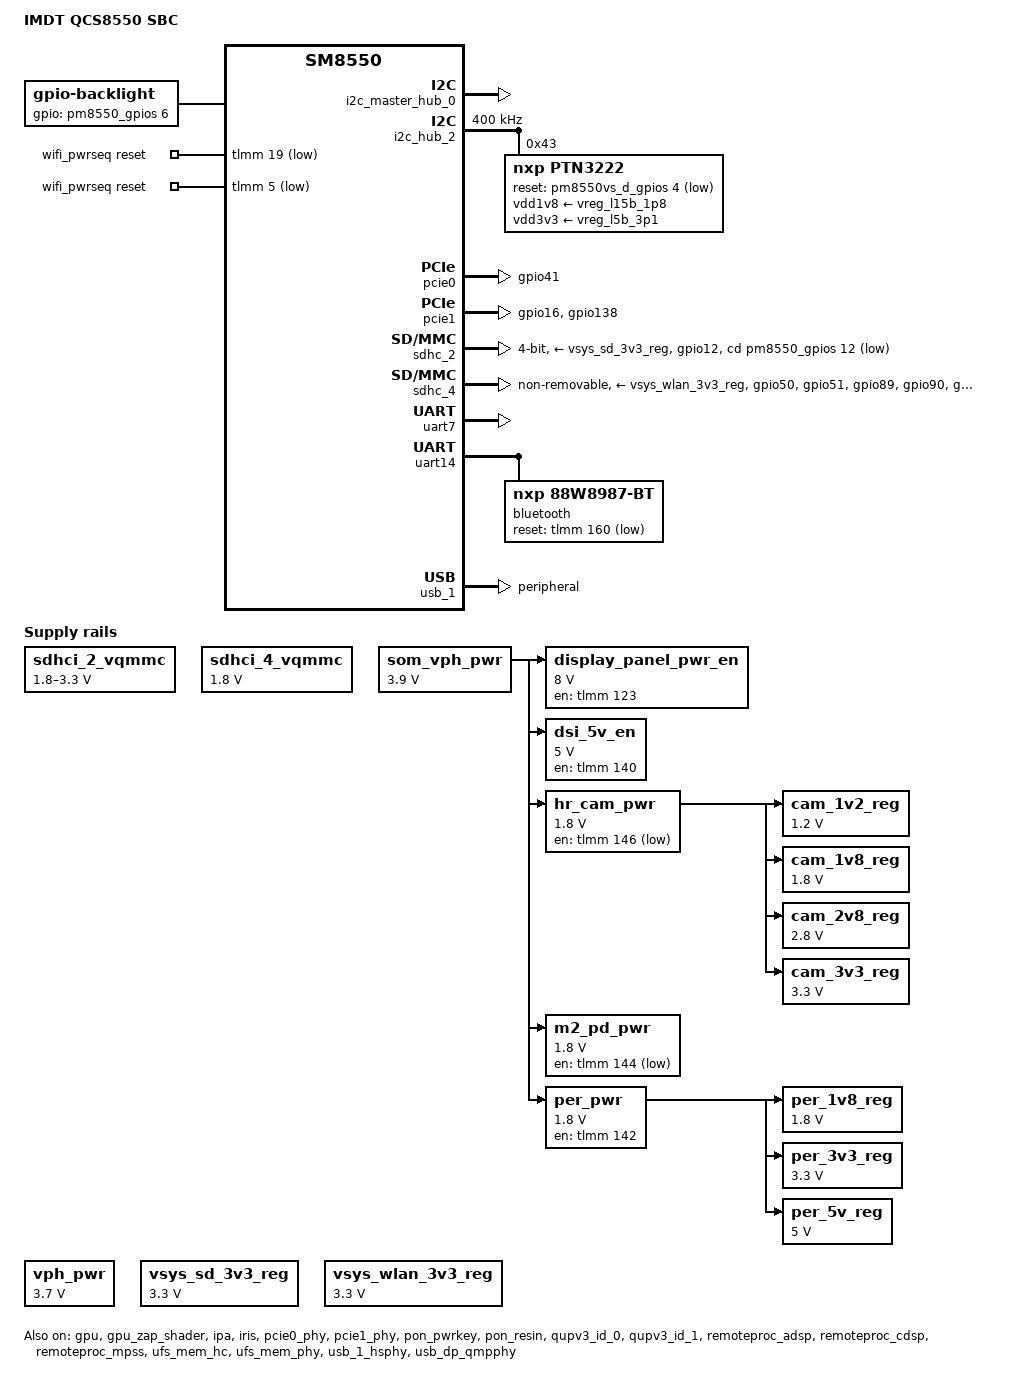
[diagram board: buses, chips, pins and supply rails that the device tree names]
// SPDX-License-Identifier: BSD-3-Clause
/*
 * Copyright (c) 2026 IMD Technologies Ltd
 */

/dts-v1/;

#include "qcs8550-imdt-som.dtsi"

/ {
	model = "IMDT QCS8550 SBC";
	compatible = "imdt,qcs8550-sbc", "imdt,qcs8550-som",
		     "qcom,qcs8550", "qcom,sm8550";
	chassis-type = "embedded";

	aliases {
		serial0 = &uart7;
		serial1 = &uart14;
	};

	chosen {
		stdout-path = "serial0:115200n8";
	};

	backlight: backlight {
		compatible = "gpio-backlight";
		gpios = <&pm8550_gpios 6 GPIO_ACTIVE_HIGH>;
		default-on;
	};

	cam_1v2_reg: regulator-cam-1v2 {
		compatible = "regulator-fixed";
		regulator-name = "cam_1v2_reg";
		regulator-min-microvolt = <1200000>;
		regulator-max-microvolt = <1200000>;
		vin-supply = <&hr_cam_pwr>;
	};

	cam_1v8_reg: regulator-cam-1v8 {
		compatible = "regulator-fixed";
		regulator-name = "cam_1v8_reg";
		regulator-min-microvolt = <1800000>;
		regulator-max-microvolt = <1800000>;
		vin-supply = <&hr_cam_pwr>;
	};

	cam_2v8_reg: regulator-cam-2v8 {
		compatible = "regulator-fixed";
		regulator-name = "cam_2v8_reg";
		regulator-min-microvolt = <2800000>;
		regulator-max-microvolt = <2800000>;
		vin-supply = <&hr_cam_pwr>;
	};

	cam_3v3_reg: regulator-cam-3v3 {
		compatible = "regulator-fixed";
		regulator-name = "cam_3v3_reg";
		regulator-min-microvolt = <3300000>;
		regulator-max-microvolt = <3300000>;
		vin-supply = <&hr_cam_pwr>;
	};

	display_panel_pwr_en: regulator-display-panel-en {
		compatible = "regulator-fixed";
		regulator-name = "display_panel_pwr_en";
		regulator-min-microvolt = <8000000>;
		regulator-max-microvolt = <8000000>;
		startup-delay-us = <10000>;

		pinctrl-names = "default";
		pinctrl-0 = <&panel_en_default>;

		gpio = <&tlmm 123 GPIO_ACTIVE_HIGH>;
		enable-active-high;

		vin-supply = <&som_vph_pwr>;
	};

	/* 5V VIN to backlight LED driver PMIC */
	dsi_5v_en: regulator-dsi-5v-en {
		compatible = "regulator-fixed";
		regulator-name = "dsi_5v_en";
		regulator-min-microvolt = <5000000>;
		regulator-max-microvolt = <5000000>;

		pinctrl-names = "default";
		pinctrl-0 = <&dsi_5v_en_default>;

		gpio = <&tlmm 140 GPIO_ACTIVE_HIGH>;
		enable-active-high;

		vin-supply = <&som_vph_pwr>;

		regulator-always-on;
		regulator-boot-on;
	};

	/* Enables 1V2, 1V8_CAM and 3V3_CAM */
	hr_cam_pwr: regulator-hr-cam-pwr {
		compatible = "regulator-fixed";
		regulator-name = "hr_cam_pwr";
		regulator-min-microvolt = <1800000>;
		regulator-max-microvolt = <1800000>;

		pinctrl-names = "default";
		pinctrl-0 = <&hr_cam_en_default>;

		gpio = <&tlmm 146 GPIO_ACTIVE_LOW>;

		vin-supply = <&som_vph_pwr>;

		regulator-always-on;
		regulator-boot-on;
	};

	/* Enables V2MB_3V8 and V2ME_3V3 */
	m2_pd_pwr: regulator-m2-pd-pwr {
		compatible = "regulator-fixed";
		regulator-name = "m2_pd_pwr";
		regulator-min-microvolt = <1800000>;
		regulator-max-microvolt = <1800000>;

		pinctrl-names = "default";
		pinctrl-0 = <&m2_pd_en_default>;

		gpio = <&tlmm 144 GPIO_ACTIVE_LOW>;

		vin-supply = <&som_vph_pwr>;

		regulator-always-on;
		regulator-boot-on;

		gpio-open-drain;
	};

	per_1v8_reg: regulator-per-1v8 {
		compatible = "regulator-fixed";
		regulator-name = "per_1v8_reg";
		regulator-min-microvolt = <1800000>;
		regulator-max-microvolt = <1800000>;
		vin-supply = <&per_pwr>;
	};

	per_3v3_reg: regulator-per-3v3 {
		compatible = "regulator-fixed";
		regulator-name = "per_3v3_reg";
		regulator-min-microvolt = <3300000>;
		regulator-max-microvolt = <3300000>;
		vin-supply = <&per_pwr>;
	};

	per_5v_reg: regulator-per-5v {
		compatible = "regulator-fixed";
		regulator-name = "per_5v_reg";
		regulator-min-microvolt = <5000000>;
		regulator-max-microvolt = <5000000>;
		vin-supply = <&per_pwr>;
	};

	/* Enables 5V_PER, 3V3_PER and 1V8_PER */
	per_pwr: regulator-per-pwr {
		compatible = "regulator-fixed";
		regulator-name = "per_pwr";
		regulator-min-microvolt = <1800000>;
		regulator-max-microvolt = <1800000>;

		pinctrl-names = "default";
		pinctrl-0 = <&pwr_per_en_default>;

		gpio = <&tlmm 142 GPIO_ACTIVE_HIGH>;
		enable-active-high;

		vin-supply = <&som_vph_pwr>;

		regulator-always-on;
		regulator-boot-on;
	};

	sdhci_2_vqmmc: regulator-sdhci-2-vqmmc {
		compatible = "regulator-gpio";

		regulator-name = "sdhci_2_vqmmc";
		regulator-min-microvolt = <1800000>;
		regulator-max-microvolt = <3300000>;
		regulator-type = "voltage";

		pinctrl-names = "default";
		pinctrl-0 = <&sd_vset_default>;

		gpios = <&tlmm 4 GPIO_ACTIVE_HIGH>;
		enable-active-high;

		gpios-states = <0>;
		states = <3300000 0>,
			 <1800000 1>;

		startup-delay-us = <10000>;
	};

	sdhci_4_vqmmc: regulator-sdhci-4-vqmmc {
		compatible = "regulator-fixed";
		regulator-name = "sdhci_4_vqmmc";
		regulator-min-microvolt = <1800000>;
		regulator-max-microvolt = <1800000>;
		regulator-always-on;
		regulator-boot-on;
	};

	som_vph_pwr: regulator-som-vph-pwr {
		compatible = "regulator-fixed";
		regulator-name = "som_vph_pwr";
		regulator-min-microvolt = <3900000>;
		regulator-max-microvolt = <3900000>;
		regulator-always-on;
		regulator-boot-on;
	};

	vph_pwr: regulator-vph-pwr {
		compatible = "regulator-fixed";
		regulator-name = "vph_pwr";
		regulator-min-microvolt = <3700000>;
		regulator-max-microvolt = <3700000>;
		regulator-always-on;
		regulator-boot-on;
	};

	vsys_sd_3v3_reg: regulator-vsys-sd-3v3 {
		compatible = "regulator-fixed";
		regulator-name = "vsys_sd_3v3_reg";
		regulator-min-microvolt = <3300000>;
		regulator-max-microvolt = <3300000>;
		regulator-always-on;
		regulator-boot-on;
	};

	vsys_wlan_3v3_reg: regulator-vsys-wlan-3v3 {
		compatible = "regulator-fixed";
		regulator-name = "vsys_wlan_3v3_reg";
		regulator-min-microvolt = <3300000>;
		regulator-max-microvolt = <3300000>;
		regulator-always-on;
		regulator-boot-on;
	};

	wifi_pwrseq: wifi-pwrseq {
		compatible = "mmc-pwrseq-simple";
		/*
		 * NXP IW416 chip enables: PMIC_EN (master) and WLAN_EN.
		 * Held asserted (low) before SDHC4 powers up, then
		 * released after vmmc/vqmmc are stable.
		 */
		reset-gpios = <&tlmm 19 GPIO_ACTIVE_LOW>,
			      <&tlmm 5 GPIO_ACTIVE_LOW>;
		post-power-on-delay-ms = <50>;
	};
};

&apps_rsc {
	regulators-0 {
		vdd-bob1-supply = <&vph_pwr>;
		vdd-bob2-supply = <&vph_pwr>;
	};

	regulators-3 {
		vdd-s4-supply = <&vph_pwr>;
		vdd-s5-supply = <&vph_pwr>;
	};

	regulators-4 {
		vdd-s4-supply = <&vph_pwr>;
	};

	regulators-5 {
		vdd-s1-supply = <&vph_pwr>;
		vdd-s2-supply = <&vph_pwr>;
		vdd-s3-supply = <&vph_pwr>;
		vdd-s4-supply = <&vph_pwr>;
		vdd-s5-supply = <&vph_pwr>;
		vdd-s6-supply = <&vph_pwr>;
	};
};

&gpi_dma1 {
	status = "okay";
};

&gpu {
	status = "okay";
};

&gpu_zap_shader {
	firmware-name = "qcom/sm8550/a740_zap.mbn";
	status = "okay";
};

&i2c_master_hub_0 {
	status = "okay";
};

&i2c_hub_2 {
	clock-frequency = <400000>;
	status = "okay";

	ptn3222: redriver@43 {
		compatible = "nxp,ptn3222";
		reg = <0x43>;
		#phy-cells = <0>;

		vdd1v8-supply = <&vreg_l15b_1p8>;
		vdd3v3-supply = <&vreg_l5b_3p1>;

		pinctrl-names = "default";
		pinctrl-0 = <&eusb2_repeater_reset_default>;

		reset-gpios = <&pm8550vs_d_gpios 4 GPIO_ACTIVE_LOW>;
	};
};

&ipa {
	qcom,gsi-loader = "self";
	memory-region = <&ipa_fw_mem>;
	firmware-name = "qcom/sm8550/ipa_fws.mbn";
	status = "okay";
};

&iris {
	status = "okay";
};

&lpass_rxmacro {
	status = "disabled";
};

&lpass_tlmm {
	status = "disabled";
};

&lpass_txmacro {
	status = "disabled";
};

&lpass_vamacro {
	status = "disabled";
};

&lpass_wsa2macro {
	status = "disabled";
};

&lpass_wsamacro {
	status = "disabled";
};

&pcie0 {
	wake-gpios = <&tlmm 96 GPIO_ACTIVE_HIGH>;
	perst-gpios = <&tlmm 94 GPIO_ACTIVE_LOW>;

	/*
	 * pcie0 hosts the M.2 Key-E slot. Apply the SDIO reset
	 * de-assert here so any module's chip enable is settled
	 * before pcie0 trains its link.
	 */
	pinctrl-0 = <&pcie0_default_state>, <&m2e_sdio_resetn_default>;
	pinctrl-names = "default";

	status = "okay";
};

&pcie0_phy {
	vdda-phy-supply = <&vreg_l1e_0p88>;
	vdda-pll-supply = <&vreg_l3e_1p2>;

	status = "okay";
};

&pcie1 {
	wake-gpios = <&tlmm 99 GPIO_ACTIVE_HIGH>;
	perst-gpios = <&tlmm 97 GPIO_ACTIVE_LOW>;

	/*
	 * pcie_switch_sel_default and gbe_reset_default are board-init
	 * lines that must be stable before pcie1 trains its link: the
	 * PCIe switch needs its mode-select strap settled, and the
	 * downstream LAN743x must be out of reset to enumerate.
	 * Applying them via pcie1's pinctrl-0 fires them during
	 * qcom-pcie probe, before bus enumeration.
	 */
	pinctrl-0 = <&pcie1_default_state>,
		    <&pcie_switch_sel_default>,
		    <&gbe_reset_default>;
	pinctrl-names = "default";

	status = "okay";
};

&pcie1_phy {
	vdda-phy-supply = <&vreg_l3c_0p9>;
	vdda-pll-supply = <&vreg_l3e_1p2>;
	vdda-qref-supply = <&vreg_l1e_0p88>;

	status = "okay";
};

&pm8550_gpios {
	sd_card_detect_default: sd-card-detect-default-state {
		pins = "gpio12";
		function = "normal";
		input-enable;
		output-disable;
		bias-disable;
		power-source = <1>; /* 1.8 V */
	};
};

&pm8550vs_d_gpios {
	eusb2_repeater_reset_default: eusb2-repeater-reset-default-state {
		pins = "gpio4";
		function = "normal";

		input-enable;
		output-enable;
		bias-disable;

		drive-push-pull;
		power-source = <1>; /* 1.8V */
		qcom,drive-strength = <3>;
	};
};

&pmk8550_gpios {
	pmk8550_sleep_clk: sleep-clk-state {
		pins = "gpio3";
		function = "func1";
		input-disable;
		output-enable;
		bias-disable;
		power-source = <1>; /* 1.8 V */
	};
};

&pon_pwrkey {
	status = "okay";
};

&pon_resin {
	linux,code = <KEY_VOLUMEDOWN>;

	status = "okay";
};

&qupv3_id_0 {
	status = "okay";
};

&qupv3_id_1 {
	status = "okay";
};

&remoteproc_adsp {
	firmware-name = "qcom/sm8550/adsp.mbn",
			"qcom/sm8550/adsp_dtb.mbn";
	status = "okay";
};

&remoteproc_cdsp {
	firmware-name = "qcom/sm8550/cdsp.mbn",
			"qcom/sm8550/cdsp_dtb.mbn";
	status = "okay";
};

&remoteproc_mpss {
	firmware-name = "qcom/sm8550/modem.mbn",
			"qcom/sm8550/modem_dtb.mbn";
	status = "okay";
};

&sdc2_default {
	clk-pins {
		drive-strength = <16>;
	};

	cmd-pins {
		/delete-property/ bias-pull-up;
		bias-disable;
		drive-strength = <16>;
	};

	data-pins {
		/delete-property/ bias-pull-up;
		bias-disable;
		drive-strength = <16>;
	};
};

&sdhc_2 {
	cd-gpios = <&pm8550_gpios 12 GPIO_ACTIVE_LOW>;

	pinctrl-0 = <&sdc2_default>, <&sd_card_detect_default>;
	pinctrl-1 = <&sdc2_default>, <&sd_card_detect_default>;
	pinctrl-names = "default", "sleep";

	vmmc-supply = <&vsys_sd_3v3_reg>;
	vqmmc-supply = <&sdhci_2_vqmmc>;

	bus-width = <4>;
	no-sdio;
	no-mmc;

	status = "okay";
};

&sdhc_4 {
	pinctrl-0 = <&sdc4_default>, <&pmk8550_sleep_clk>;
	pinctrl-1 = <&sdc4_sleep>, <&pmk8550_sleep_clk>;
	pinctrl-names = "default", "sleep";

	vmmc-supply = <&vsys_wlan_3v3_reg>;
	vqmmc-supply = <&sdhci_4_vqmmc>;

	mmc-pwrseq = <&wifi_pwrseq>;

	keep-power-in-suspend;
	non-removable;
	no-mmc;
	no-sd;

	status = "okay";
};

&tlmm {
	/* Reserved I/Os for NFC */
	gpio-reserved-ranges = <32 8>;

	bt_default: bt-default-state {
		bt-en-pins {
			pins = "gpio81";
			function = "gpio";
			drive-strength = <16>;
			bias-disable;
		};

		sw-ctrl-pins {
			pins = "gpio82";
			function = "gpio";
			bias-pull-down;
		};
	};

	dsi_5v_en_default: dsi-5v-en-default-state {
		pins = "gpio140";
		function = "gpio";
		drive-strength = <8>;
		bias-pull-down;
	};

	goodix_int_default: goodix-int-default-state {
		goodix-int-pins {
			pins = "gpio88";
			function = "gpio";
			bias-disable;
		};
	};

	goodix_reset_default: goodix-reset-default-state {
		goodix-reset-pins {
			pins = "gpio122";
			function = "gpio";
			drive-strength = <8>;
			drive-open-drain;
			bias-disable;
		};
	};

	hr_cam_en_default: hr-cam-en-default-state {
		hr-cam-en-pins {
			pins = "gpio146";
			function = "gpio";
			drive-strength = <16>;
		};
	};

	lt9611_irq_pin: lt9611-irq-state {
		pins = "gpio8";
		function = "gpio";
		bias-disable;
	};

	lt9611_rst_pin: lt9611-rst-state {
		pins = "gpio7";
		function = "gpio";
		output-high;
	};

	m2_pd_en_default: m2-pd-en-default-state {
		m2-pd-en-pins {
			pins = "gpio144";
			function = "gpio";
			drive-strength = <16>;
			drive-open-drain;
		};
	};

	panel_en_default: panel-en-default-state {
		pins = "gpio123";
		function = "gpio";
		drive-strength = <8>;
		bias-pull-down;
	};

	panel_reset_default: panel-reset-default-state {
		pins = "gpio133";
		function = "gpio";
		drive-strength = <8>;
		bias-disable;
		drive-open-drain;
	};

	pwr_per_en_default: pwr-per-en-default-state {
		pwr-per-en-pins {
			pins = "gpio142";
			function = "gpio";
			drive-strength = <16>;
		};
	};

	sd_vset_default: sd-vset-default-state {
		sd-vset-pins {
			pins = "gpio4";
			function = "gpio";
			bias-disable;
			drive-strength = <16>;
		};
	};

	sdc4_default: sdc4-default-state {
		clk-pins {
			pins = "gpio50";
			function = "sdc4_clk";
			bias-disable;
			drive-strength = <16>;
		};

		cmd-pins {
			pins = "gpio51";
			function = "sdc4_cmd";
			bias-disable;
			drive-strength = <16>;
		};

		data0-pins {
			pins = "gpio89";
			function = "sdc40";
			bias-disable;
			drive-strength = <16>;
		};

		data1-pins {
			pins = "gpio90";
			function = "sdc41";
			bias-disable;
			drive-strength = <16>;
		};

		data2-pins {
			pins = "gpio48";
			function = "sdc42";
			bias-disable;
			drive-strength = <16>;
		};

		data3-pins {
			pins = "gpio49";
			function = "sdc43";
			bias-disable;
			drive-strength = <16>;
		};
	};

	sdc4_sleep: sdc4-sleep-state {
		clk-pins {
			pins = "gpio50";
			function = "sdc4_clk";
			bias-disable;
			drive-strength = <2>;
		};

		cmd-pins {
			pins = "gpio51";
			function = "sdc4_cmd";
			bias-disable;
			drive-strength = <2>;
		};

		data0-pins {
			pins = "gpio89";
			function = "sdc40";
			bias-disable;
			drive-strength = <2>;
		};

		data1-pins {
			pins = "gpio90";
			function = "sdc41";
			bias-disable;
			drive-strength = <2>;
		};

		data2-pins {
			pins = "gpio48";
			function = "sdc42";
			bias-disable;
			drive-strength = <2>;
		};

		data3-pins {
			pins = "gpio49";
			function = "sdc43";
			bias-disable;
			drive-strength = <2>;
		};
	};

	wcd_default: wcd-reset-n-active-state {
		pins = "gpio108";
		function = "gpio";
		drive-strength = <16>;
		bias-disable;
		output-low;
	};

	wlan_en: wlan-en-state {
		pins = "gpio80";
		function = "gpio";
		drive-strength = <8>;
		bias-pull-down;
	};

	audio-speaker-dac-reset-default-state {
		pins = "gpio171";
		function = "gpio";
		drive-strength = <2>;
		drive-open-drain;
	};

	/*
	 * Drive LAN743x reset high (de-asserted) when pcie1 probes,
	 * so the PHY enumerates on the bus. Open-drain matches the
	 * board's external pull-up on the reset line.
	 */
	gbe_reset_default: gbe-reset-default-state {
		pins = "gpio138";
		function = "gpio";
		drive-strength = <2>;
		drive-open-drain;
		bias-disable;
		output-high;
	};

	/*
	 * We drive this GPIO physically high on the M2 Key-E
	 * connector to make sure the module is enabled. An M2
	 * Key-E module could be using this pin as a chip enable.
	 */
	m2e_sdio_resetn_default: m2e-sdio-resetn-default-state {
		pins = "gpio41";
		function = "gpio";
		drive-strength = <2>;
		bias-disable;
		output-high;
	};

	/* Force the on-board PCIe switch to select the GbE upstream port. */
	pcie_switch_sel_default: pcie-switch-sel-default-state {
		pins = "gpio16";
		function = "gpio";
		drive-strength = <2>;
		bias-disable;
		output-low;
	};
};

&uart7 {
	status = "okay";
};

&uart14 {
	status = "okay";

	/*
	 * NXP IW416 WiFi+BT combo, BT side over UART. The btnxpuart
	 * driver auto-detects the chip ID at runtime; the upstream
	 * binding only enumerates 88w8987/8997 compatibles, so use
	 * the closest match until an iw416-bt compatible is added.
	 */
	bluetooth {
		compatible = "nxp,88w8987-bt";
		fw-init-baudrate = <115200>;
		max-speed = <3000000>;
		firmware-name = "uartiw416_bt.bin";
		reset-gpios = <&tlmm 160 GPIO_ACTIVE_LOW>;
	};
};

&ufs_mem_hc {
	reset-gpios = <&tlmm 210 GPIO_ACTIVE_LOW>;

	vcc-supply = <&vreg_l17b_2p5>;
	vcc-max-microamp = <1300000>;
	vccq-supply = <&vreg_l1g_1p2>;
	vccq-max-microamp = <1200000>;
	vdd-hba-supply = <&vreg_l3g_1p2>;

	status = "okay";
};

&ufs_mem_phy {
	vdda-phy-supply = <&vreg_l1d_0p88>;
	vdda-pll-supply = <&vreg_l3e_1p2>;

	status = "okay";
};

&usb_1 {
	/delete-property/ usb-role-switch;
	dr_mode = "peripheral";

	status = "okay";
};

&usb_1_hsphy {
	vdd-supply = <&vreg_l1e_0p88>;
	vdda12-supply = <&vreg_l3e_1p2>;

	phys = <&ptn3222>;

	status = "okay";
};

&usb_dp_qmpphy {
	vdda-phy-supply = <&vreg_l3e_1p2>;
	vdda-pll-supply = <&vreg_l3f_0p88>;

	status = "okay";
};
